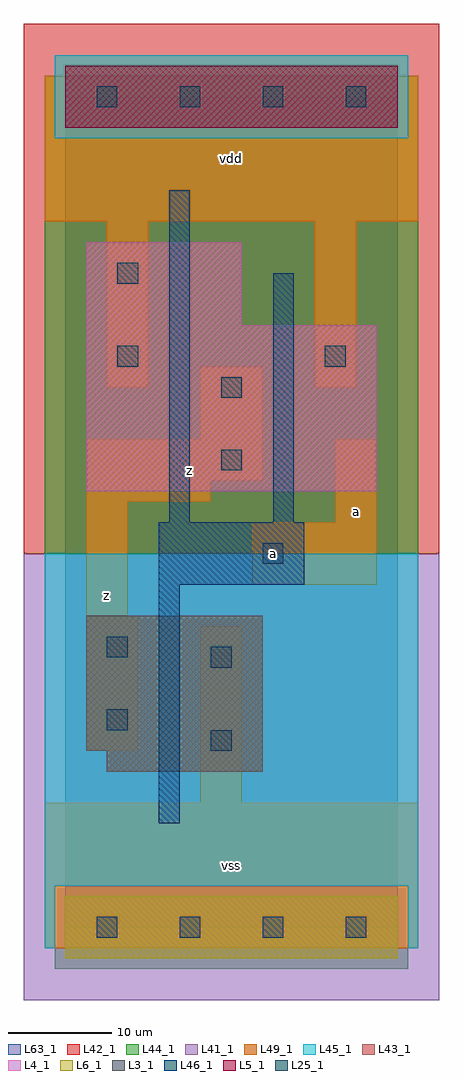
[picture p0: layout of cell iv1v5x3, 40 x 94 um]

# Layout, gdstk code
import gdstk
lib = gdstk.Library(unit=1e-6, precision=1e-09)
def R(c, l, rs):  # rectangles x0, y0, x1, y1
    for r in rs: c.add(gdstk.rectangle(r[:2], r[2:], *l))
def A(c, l, x, y, w, h, nx, ny, dx, dy):  # array of equal rectangles
    R(c, l, [(x+i*dx, y+j*dy, x+i*dx+w, y+j*dy+h) for i in range(nx) for j in range(ny)])
L3_1 = (3, 1)
L4_1 = (4, 1)
L5_1 = (5, 1)
L6_1 = (6, 1)
L25_1 = (25, 1)
L41_1 = (41, 1)
L42_1 = (42, 1)
L43_1 = (43, 1)
L44_1 = (44, 1)
L45_1 = (45, 1)
L46_1 = (46, 1)
L49_1 = (49, 1)
L63_1 = (63, 1)

iv1v5x3 = lib.new_cell('iv1v5x3')
R(iv1v5x3, L3_1, [(4,15,19,17), (2,17,19,30)])
R(iv1v5x3, L4_1, [(2,42,30,58), (2,58,17,66)])
R(iv1v5x3, L5_1, [(0,77,32,83)])
R(iv1v5x3, L6_1, [(0,-3,32,3), (0,-3,32,3)])
A(iv1v5x3, L25_1, 3, -1, 2, 2, 4, 2, 8, 80)
R(iv1v5x3, L25_1, [(14,17,16,19), (4,19,6,21), (14,25,16,27), (4,26,6,28), (19,35,21,37), (15,44,17,46), (15,51,17,53), (5,54,7,56), (25,54,27,56), (5,62,7,64)])
R(iv1v5x3, L41_1, [(-4,-7,36,36)])
R(iv1v5x3, L42_1, [(-4,36,36,87)])
R(iv1v5x3, L43_1, [(0,-3,32,3), (4,15,19,17), (2,17,19,30), (2,42,30,58), (2,58,17,66), (0,77,32,83)])
R(iv1v5x3, L44_1, [(-1,-4,33,4), (-2,36,34,76), (-2,76,-1,82), (33,76,34,82)])
R(iv1v5x3, L45_1, [(-2,-2,-1,4), (33,-2,34,4), (-2,4,34,36), (-1,76,33,84)])
R(iv1v5x3, L46_1, [(9,10,11,33), (9,33,23,39), (10,39,12,71), (20,39,22,63)])
R(iv1v5x3, L49_1, [(-2,-2,34,12), (13,12,17,29), (2,17,7,30), (2,30,6,41), (18,33,30,39), (26,39,30,47), (2,41,14,43), (2,43,19,47), (13,47,19,54), (4,52,8,68), (24,52,28,68), (-2,68,34,82)])
R(iv1v5x3, L63_1, [(0,0,32,80)])
iv1v5x3.add(gdstk.Label('z', (4,32), layer=49, texttype=1))
iv1v5x3.add(gdstk.Label('z', (12,44), layer=49, texttype=1))
iv1v5x3.add(gdstk.Label('vss', (16,6), layer=49, texttype=1))
iv1v5x3.add(gdstk.Label('a', (20,36), layer=49, texttype=1))
iv1v5x3.add(gdstk.Label('vdd', (16,74), layer=49, texttype=1))
iv1v5x3.add(gdstk.Label('a', (28,40), layer=49, texttype=1))

lib.write_gds('iv1v5x3.gds')
